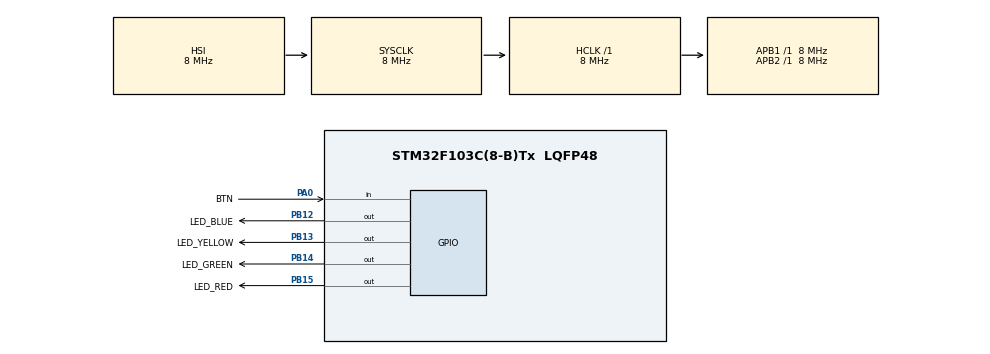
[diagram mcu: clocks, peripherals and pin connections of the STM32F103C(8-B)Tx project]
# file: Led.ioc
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Mcu.Family=STM32F1
Mcu.Name=STM32F103C(8-B)Tx
Mcu.Package=LQFP48
NVIC.PriorityGroup=NVIC_PRIORITYGROUP_4
PA0-WKUP.GPIO_Label=BTN
PA0-WKUP.GPIO_PuPd=GPIO_PULLUP
PA0-WKUP.Signal=GPIO_Input
PB12.GPIO_Label=LED_BLUE
PB12.Signal=GPIO_Output
PB13.GPIO_Label=LED_YELLOW
PB13.Signal=GPIO_Output
PB14.GPIO_Label=LED_GREEN
PB14.Signal=GPIO_Output
PB15.GPIO_Label=LED_RED
PB15.Signal=GPIO_Output
ProjectManager.HeapSize=0x200
ProjectManager.StackSize=0x400
ProjectManager.TargetToolchain=MDK-ARM V5
RCC.ADCFreq_Value=8000000
RCC.AHBFreq_Value=8000000
RCC.APB1CLKDivider=RCC_HCLK_DIV1
RCC.APB1Freq_Value=8000000
RCC.APB1TimFreq_Value=8000000
RCC.APB2Freq_Value=8000000
RCC.APB2TimFreq_Value=8000000
RCC.HCLKFreq_Value=8000000
RCC.HSI_VALUE=8000000
RCC.LSE_VALUE=32768
RCC.SYSCLKFreq_VALUE=8000000
RCC.SYSCLKSource=RCC_SYSCLKSOURCE_HSI
board=custom

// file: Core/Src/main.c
/* USER CODE BEGIN Header */
/**
  ******************************************************************************
  * @file           : main.c
  * @brief          : 四路流水灯 + 按键改变方向（HAL 库 / MDK-ARM）
  ******************************************************************************
  * @attention
  *
  * Copyright (c) 2026 STMicroelectronics.
  * All rights reserved.
  *
  * This software is licensed under terms that can be found in the LICENSE file
  * in the root directory of this software component.
  * If no LICENSE file comes with this software, it is provided AS-IS.
  *
  ******************************************************************************
  */
/* USER CODE END Header */
#include "main.h"

/* USER CODE BEGIN PD */

/* ==========================================================================
 * 一、接线表（只改这里就能换引脚）
 * --------------------------------------------------------------------------
 * WIRING = 1 : 面包板上实际接线 —— PB12 蓝 / PB13 黄 / PB14 绿 / PB15 红
 * WIRING = 0 : 早期 CubeMX 引脚图 —— PB8 蓝 / PB9 绿 / PA1 黄 / PA2 红 / PC13 LED
 *
 * LED 接法：长脚(正极) -- 限流电阻 -- GPIO ；短脚(负极) -- 面包板负极轨(GND)
 *            => 高电平点亮（GPIO_PIN_SET = 亮）
 * 按键接法：PA0 -- 按键 -- GND ，内部上拉，按下读到低电平
 * ========================================================================== */
#define WIRING                 1

#if (WIRING == 1)
  #define LED_BLUE_PORT        GPIOB
  #define LED_BLUE_PIN         GPIO_PIN_12
  #define LED_YELLOW_PORT      GPIOB
  #define LED_YELLOW_PIN       GPIO_PIN_13
  #define LED_GREEN_PORT       GPIOB
  #define LED_GREEN_PIN        GPIO_PIN_14
  #define LED_RED_PORT         GPIOB
  #define LED_RED_PIN          GPIO_PIN_15
#else
  #define LED_BLUE_PORT        GPIOB
  #define LED_BLUE_PIN         GPIO_PIN_8
  #define LED_YELLOW_PORT      GPIOA
  #define LED_YELLOW_PIN       GPIO_PIN_1
  #define LED_GREEN_PORT       GPIOB
  #define LED_GREEN_PIN        GPIO_PIN_9
  #define LED_RED_PORT         GPIOA
  #define LED_RED_PIN          GPIO_PIN_2
#endif

#define BTN_PORT               GPIOA
#define BTN_PIN                GPIO_PIN_0   /* main.h 里 CubeMX 生成的 BTN_Pin 是同一根线，这里不重复使用 */

#define LED_COUNT              4U      /* LED 个数 */
#define STEP_MS                200U    /* 每走一步的间隔(ms)，流水速度就靠它 */
#define DEBOUNCE_MS            20U     /* 按键消抖时间(ms) */

/* USER CODE END PD */

/* USER CODE BEGIN PV */

/* 每颗灯的 端口 + 引脚，数组顺序就是流水顺序 */
static GPIO_TypeDef *const led_port[LED_COUNT] = {
  LED_BLUE_PORT, LED_YELLOW_PORT, LED_GREEN_PORT, LED_RED_PORT
};
static const uint16_t led_pin[LED_COUNT] = {
  LED_BLUE_PIN, LED_YELLOW_PIN, LED_GREEN_PIN, LED_RED_PIN
};

static int8_t  s_dir      = 1;   /* +1 正向(蓝→黄→绿→红)，-1 反向 */
static int8_t  s_index    = 0;   /* 当前亮的是第几颗 */
static uint32_t s_tick    = 0;   /* 上一次换灯的时刻 */

/* USER CODE END PV */

void SystemClock_Config(void);
static void MX_GPIO_Init(void);
/* USER CODE BEGIN PFP */
static void leds_all_off(void);
static void led_on(int8_t i);
static void chaser_step(void);
static void button_scan(void);
/* USER CODE END PFP */

/* USER CODE BEGIN 0 */

/* 全部熄灭 */
static void leds_all_off(void)
{
  for (uint8_t i = 0; i < LED_COUNT; i++)
  {
    HAL_GPIO_WritePin(led_port[i], led_pin[i], GPIO_PIN_RESET);
  }
}

/* 点亮第 i 颗（清场由 leds_all_off 负责） */
static void led_on(int8_t i)
{
  HAL_GPIO_WritePin(led_port[i], led_pin[i], GPIO_PIN_SET);
}

/* 走一步：先全灭，再按下标把灯往当前方向挪一格 */
static void chaser_step(void)
{
  leds_all_off();

  s_index += s_dir;
  if (s_index >= (int8_t)LED_COUNT) s_index = 0;                    /* 正向到头，回到第 1 颗 */
  if (s_index < 0)                  s_index = (int8_t)LED_COUNT - 1; /* 反向到头，回到最后 1 颗 */

  led_on(s_index);
}

/* 按键扫描：20ms 消抖，只在按下那一刻翻转一次方向（非阻塞，不耽误流水） */
static void button_scan(void)
{
  static uint8_t  stable   = GPIO_PIN_SET;   /* 消抖后的电平，默认松开 = 高 */
  static uint8_t  raw_last = GPIO_PIN_SET;   /* 上一次读到的原始电平 */
  static uint32_t t_change = 0;
  uint8_t raw = (uint8_t)HAL_GPIO_ReadPin(BTN_PORT, BTN_PIN);

  if (raw != raw_last)                       /* 电平跳变，重新计时 */
  {
    raw_last = raw;
    t_change = HAL_GetTick();
  }

  if ((HAL_GetTick() - t_change) >= DEBOUNCE_MS && raw != stable)
  {
    stable = raw;                            /* 电平稳住 20ms 才认账 */
    if (stable == GPIO_PIN_RESET)            /* 下降沿 = 按下 */
    {
      s_dir = (int8_t)(-s_dir);              /* 正反向切换 */
    }
  }
}

/* USER CODE END 0 */

int main(void)
{

  /* MCU Configuration--------------------------------------------------------*/

  /* Reset of all peripherals, Initializes the Flash interface and the Systick. */
  HAL_Init();

  /* Configure the system clock */
  SystemClock_Config();

  /* Initialize all configured peripherals */
  MX_GPIO_Init();
  /* USER CODE BEGIN 2 */
  leds_all_off();
  s_index = 0;
  led_on(s_index);                 /* 开机先点亮第一颗（蓝） */
  s_tick = HAL_GetTick();
  /* USER CODE END 2 */

  /* Infinite loop */
  while (1)
  {

    /* USER CODE BEGIN 3 */
    button_scan();                 /* 每圈都扫，按键一按立刻响应，不会被延时卡住 */

    if ((HAL_GetTick() - s_tick) >= STEP_MS)
    {
      s_tick = HAL_GetTick();
      chaser_step();
    }
  }
  /* USER CODE END 3 */
}

void SystemClock_Config(void)
{
  RCC_OscInitTypeDef RCC_OscInitStruct = {0};
  RCC_ClkInitTypeDef RCC_ClkInitStruct = {0};

  /** Initializes the RCC Oscillators according to the specified parameters
  * in the RCC_OscInitTypeDef structure.
  */
  RCC_OscInitStruct.OscillatorType = RCC_OSCILLATORTYPE_HSI;
  RCC_OscInitStruct.HSIState = RCC_HSI_ON;
  RCC_OscInitStruct.HSICalibrationValue = RCC_HSICALIBRATION_DEFAULT;
  RCC_OscInitStruct.PLL.PLLState = RCC_PLL_NONE;
  if (HAL_RCC_OscConfig(&RCC_OscInitStruct) != HAL_OK)
  {
    Error_Handler();
  }

  /** Initializes the CPU, AHB and APB buses clocks
  */
  RCC_ClkInitStruct.ClockType = RCC_CLOCKTYPE_HCLK|RCC_CLOCKTYPE_SYSCLK
                              |RCC_CLOCKTYPE_PCLK1|RCC_CLOCKTYPE_PCLK2;
  RCC_ClkInitStruct.SYSCLKSource = RCC_SYSCLKSOURCE_HSI;
  RCC_ClkInitStruct.AHBCLKDivider = RCC_SYSCLK_DIV1;
  RCC_ClkInitStruct.APB1CLKDivider = RCC_HCLK_DIV1;
  RCC_ClkInitStruct.APB2CLKDivider = RCC_HCLK_DIV1;

  if (HAL_RCC_ClockConfig(&RCC_ClkInitStruct, FLASH_LATENCY_0) != HAL_OK)
  {
    Error_Handler();
  }
}

static void MX_GPIO_Init(void)
{
  GPIO_InitTypeDef GPIO_InitStruct = {0};

  /* GPIO Ports Clock Enable */
  __HAL_RCC_GPIOA_CLK_ENABLE();
  __HAL_RCC_GPIOB_CLK_ENABLE();
  __HAL_RCC_GPIOC_CLK_ENABLE();

  /* 先输出低电平（灯灭），避免上电瞬间乱闪 */
  HAL_GPIO_WritePin(LED_BLUE_PORT,   LED_BLUE_PIN,   GPIO_PIN_RESET);
  HAL_GPIO_WritePin(LED_YELLOW_PORT, LED_YELLOW_PIN, GPIO_PIN_RESET);
  HAL_GPIO_WritePin(LED_GREEN_PORT,  LED_GREEN_PIN,  GPIO_PIN_RESET);
  HAL_GPIO_WritePin(LED_RED_PORT,    LED_RED_PIN,    GPIO_PIN_RESET);

  /* LED 推挽输出（WIRING=0 时灯分散在 A/B 两个端口，所以逐个初始化） */
  GPIO_InitStruct.Mode  = GPIO_MODE_OUTPUT_PP;
  GPIO_InitStruct.Pull  = GPIO_NOPULL;
  GPIO_InitStruct.Speed = GPIO_SPEED_FREQ_LOW;

  GPIO_InitStruct.Pin = LED_BLUE_PIN;
  HAL_GPIO_Init(LED_BLUE_PORT, &GPIO_InitStruct);
  GPIO_InitStruct.Pin = LED_YELLOW_PIN;
  HAL_GPIO_Init(LED_YELLOW_PORT, &GPIO_InitStruct);
  GPIO_InitStruct.Pin = LED_GREEN_PIN;
  HAL_GPIO_Init(LED_GREEN_PORT, &GPIO_InitStruct);
  GPIO_InitStruct.Pin = LED_RED_PIN;
  HAL_GPIO_Init(LED_RED_PORT, &GPIO_InitStruct);

  /* 按键 PA0：上拉输入，按下 = 低电平 */
  GPIO_InitStruct.Pin  = BTN_PIN;
  GPIO_InitStruct.Mode = GPIO_MODE_INPUT;
  GPIO_InitStruct.Pull = GPIO_PULLUP;
  HAL_GPIO_Init(BTN_PORT, &GPIO_InitStruct);

}

void Error_Handler(void)
{
  __disable_irq();
  while (1)
  {
  }
}
